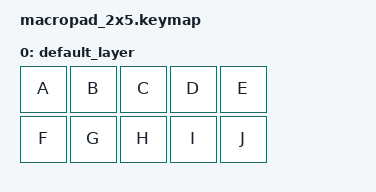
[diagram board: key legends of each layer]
#include <behaviors.dtsi>

/ {
    keymap {
        compatible = "zmk,keymap";

        default_layer {
            bindings = <
                &kp A &kp B &kp C &kp D &kp E
                &kp F &kp G &kp H &kp I &kp J
            >;
        };
    };
};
